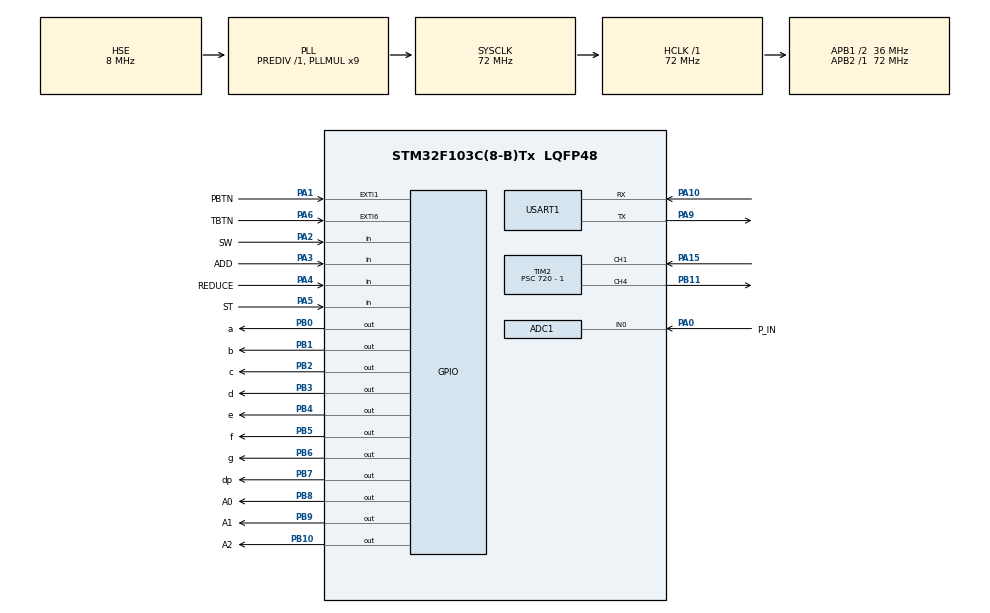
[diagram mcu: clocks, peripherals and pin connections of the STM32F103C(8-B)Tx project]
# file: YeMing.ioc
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ADC1.Channel-0\#ChannelRegularConversion=ADC_CHANNEL_0
ADC1.ContinuousConvMode=ENABLE
ADC1.NbrOfConversion=1
ADC1.NbrOfConversionFlag=1
ADC1.Rank-0\#ChannelRegularConversion=1
ADC1.SamplingTime-0\#ChannelRegularConversion=ADC_SAMPLETIME_28CYCLES_5
ADC1.master=1
Dma.ADC1.2.Direction=DMA_PERIPH_TO_MEMORY
Dma.ADC1.2.Instance=DMA1_Channel1
Dma.ADC1.2.MemDataAlignment=DMA_MDATAALIGN_HALFWORD
Dma.ADC1.2.MemInc=DMA_MINC_ENABLE
Dma.ADC1.2.Mode=DMA_CIRCULAR
Dma.ADC1.2.PeriphDataAlignment=DMA_PDATAALIGN_HALFWORD
Dma.ADC1.2.PeriphInc=DMA_PINC_DISABLE
Dma.ADC1.2.Priority=DMA_PRIORITY_LOW
Dma.Request0=USART1_TX
Dma.Request1=USART1_RX
Dma.Request2=ADC1
Dma.USART1_RX.1.Direction=DMA_PERIPH_TO_MEMORY
Dma.USART1_RX.1.Instance=DMA1_Channel5
Dma.USART1_RX.1.MemDataAlignment=DMA_MDATAALIGN_BYTE
Dma.USART1_RX.1.MemInc=DMA_MINC_ENABLE
Dma.USART1_RX.1.Mode=DMA_NORMAL
Dma.USART1_RX.1.PeriphDataAlignment=DMA_PDATAALIGN_BYTE
Dma.USART1_RX.1.PeriphInc=DMA_PINC_DISABLE
Dma.USART1_RX.1.Priority=DMA_PRIORITY_LOW
Dma.USART1_TX.0.Direction=DMA_MEMORY_TO_PERIPH
Dma.USART1_TX.0.Instance=DMA1_Channel4
Dma.USART1_TX.0.MemDataAlignment=DMA_MDATAALIGN_BYTE
Dma.USART1_TX.0.MemInc=DMA_MINC_ENABLE
Dma.USART1_TX.0.Mode=DMA_NORMAL
Dma.USART1_TX.0.PeriphDataAlignment=DMA_PDATAALIGN_BYTE
Dma.USART1_TX.0.PeriphInc=DMA_PINC_DISABLE
Dma.USART1_TX.0.Priority=DMA_PRIORITY_LOW
Mcu.Family=STM32F1
Mcu.Name=STM32F103C(8-B)Tx
Mcu.Package=LQFP48
NVIC.DMA1_Channel1_IRQn=true\:0\:0\:false\:false\:true\:false\:true\:true
NVIC.DMA1_Channel4_IRQn=true\:0\:0\:false\:false\:true\:false\:true\:true
NVIC.DMA1_Channel5_IRQn=true\:0\:0\:false\:false\:true\:false\:true\:true
NVIC.EXTI1_IRQn=true\:1\:0\:true\:false\:true\:true\:true\:true
NVIC.EXTI9_5_IRQn=true\:2\:0\:true\:false\:true\:true\:true\:true
NVIC.PriorityGroup=NVIC_PRIORITYGROUP_4
NVIC.TIM2_IRQn=true\:0\:0\:false\:false\:true\:true\:true\:true
NVIC.TIM3_IRQn=true\:0\:0\:false\:false\:true\:true\:true\:true
NVIC.TIM4_IRQn=true\:4\:0\:true\:false\:true\:true\:true\:true
NVIC.USART1_IRQn=true\:0\:0\:false\:false\:true\:false\:true\:true
PA0-WKUP.GPIO_Label=P_IN
PA0-WKUP.Signal=ADCx_IN0
PA1.GPIO_Label=PBTN
PA1.GPIO_ModeDefaultEXTI=GPIO_MODE_IT_RISING_FALLING
PA1.Signal=GPXTI1
PA10.Mode=Asynchronous
PA10.Signal=USART1_RX
PA13.Mode=Serial_Wire
PA13.Signal=SYS_JTMS-SWDIO
PA14.Mode=Serial_Wire
PA14.Signal=SYS_JTCK-SWCLK
PA15.Signal=S_TIM2_CH1_ETR
PA2.GPIO_Label=SW
PA2.Signal=GPIO_Input
PA3.GPIO_Label=ADD
PA3.Signal=GPIO_Input
PA4.GPIO_Label=REDUCE
PA4.Signal=GPIO_Input
PA5.GPIO_Label=ST
PA5.Signal=GPIO_Input
PA6.GPIO_Label=TBTN
PA6.GPIO_ModeDefaultEXTI=GPIO_MODE_IT_RISING_FALLING
PA6.Signal=GPXTI6
PA9.Mode=Asynchronous
PA9.Signal=USART1_TX
PB0.GPIO_Label=a
PB0.Signal=GPIO_Output
PB1.GPIO_Label=b
PB1.Signal=GPIO_Output
PB10.GPIO_Label=A2
PB10.Signal=GPIO_Output
PB11.Signal=S_TIM2_CH4
PB2.GPIO_Label=c
PB2.Signal=GPIO_Output
PB3.GPIO_Label=d
PB3.Signal=GPIO_Output
PB4.GPIO_Label=e
PB4.Signal=GPIO_Output
PB5.GPIO_Label=f
PB5.Signal=GPIO_Output
PB6.GPIO_Label=g
PB6.Signal=GPIO_Output
PB7.GPIO_Label=dp
PB7.Signal=GPIO_Output
PB8.GPIO_Label=A0
PB8.Signal=GPIO_Output
PB9.GPIO_Label=A1
PB9.Signal=GPIO_Output
PD0-OSC_IN.Mode=HSE-External-Oscillator
PD0-OSC_IN.Signal=RCC_OSC_IN
PD1-OSC_OUT.Mode=HSE-External-Oscillator
PD1-OSC_OUT.Signal=RCC_OSC_OUT
ProjectManager.HeapSize=0x200
ProjectManager.StackSize=0x400
ProjectManager.TargetToolchain=MDK-ARM V5
RCC.ADCPresc=RCC_ADCPCLK2_DIV6
RCC.AHBFreq_Value=72000000
RCC.APB1CLKDivider=RCC_HCLK_DIV2
RCC.APB1Freq_Value=36000000
RCC.APB1TimFreq_Value=72000000
RCC.APB2Freq_Value=72000000
RCC.APB2TimFreq_Value=72000000
RCC.HCLKFreq_Value=72000000
RCC.PLLMUL=RCC_PLL_MUL9
RCC.PLLSourceVirtual=RCC_PLLSOURCE_HSE
RCC.SYSCLKFreq_VALUE=72000000
RCC.SYSCLKSource=RCC_SYSCLKSOURCE_PLLCLK
RCC.USBFreq_Value=72000000
SH.ADCx_IN0.0=ADC1_IN0,IN0
SH.S_TIM2_CH1_ETR.0=TIM2_CH1,TriggerSource_TI1FP1
SH.S_TIM2_CH4.0=TIM2_CH4,Output Compare4 CH4
TIM2.Channel-Output\ Compare4\ CH4=TIM_CHANNEL_4
TIM2.Period=1000 - 1
TIM2.Prescaler=720 - 1
TIM2.Pulse-Output\ Compare4\ CH4=500
TIM3.Period=3580 - 1
TIM3.Prescaler=2000 - 1
TIM4.Period=3600 - 1
TIM4.Prescaler=200 - 1
USART1.VirtualMode=VM_ASYNC
VP_TIM2_VS_ControllerModeTrigger.Mode=Trigger Mode
VP_TIM2_VS_OPM.Mode=OPM_bit
VP_TIM3_VS_ClockSourceINT.Mode=Internal
VP_TIM4_VS_ClockSourceINT.Mode=Internal
board=custom

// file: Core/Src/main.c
/* USER CODE BEGIN Header */
/**
  ******************************************************************************
  * @file           : main.c
  * @brief          : Main program body
  ******************************************************************************
  * @attention
  *
  * ------------------------------------------------------------------
  *
  *                        ____  _   _ _   _
  *                       |  _ \| | | | \ | |
  *                       | |_) | | | |  \| |
  *                       |  _ <| |_| | |\  |
  *                       |_| \_\\___/|_| \_|
  *
  *
  *                                                      CharlesYu
  * ------------------------------------------------------------------
  *
  * Copyright (c) 2024 STMicroelectronics.
  * All rights reserved.
  *
  * This software is licensed under terms that can be found in the LICENSE file
  * in the root directory of this software component.
  * If no LICENSE file comes with this software, it is provided AS-IS.
  *
  ******************************************************************************
  */
/* USER CODE END Header */
#include "main.h"
#include "adc.h"
#include "dma.h"
#include "tim.h"
#include "usart.h"
#include "gpio.h"

/* USER CODE BEGIN PV */

enum_GeneralStatus global_power_status = GS_OFF;
enum_GeneralStatus global_timer_status = GS_OFF;
enum_GeneralStatus global_count_status = GS_OFF;
enum_DisplayStatusTypeDef global_display_status = DISPLAY_OFF;                          // global display clock status: Off/Hour/Minute/All
enum_KeyEventTypeDef global_key_event = KEY_EVENT_NULL;                                 // global key event: Null/Click/Hold

int key_count = 0;                          // Time count of button press
int global_timeout_count = 0;               // Count and flash hour or minute display.
int i;                                      // Loop variable

/* ---------- Time count variables */
uint8_t minute_count = 0;                   // These three variable are about the time count.
uint8_t hour_count = 0;                     // The total time count is
uint8_t second_count = 0;                   // (minute_count*60 + hour_count*3600 + second_count), in seconds .

/* ---------- ADC collection and power output percentage variables */
uint16_t adc_raw_value[10] = {0};           // ADC raw value array
uint16_t adc_value = 0;                     // ADC value in average calculation
int power_percentage = 0;                   // The percentage of power output
int pulse_delay_counter = 1000;
// const float C = 48360.5;
// const float k1 = 4836050;
// const float k2 = 7696.8;
// const float k3 = 10.97;

/* ---------- Table of delay time corresponding to percentage */
const uint16_t delay_time_table[101] = {
  0, 500, 500, 500, 500, 500, 500, 500, 500, 500,
500, 500, 500, 500, 500, 500, 500, 500, 500, 500,
500, 500, 500, 500, 500, 500, 500, 500, 500, 500,
500, 500, 500, 500, 500, 500, 500, 500, 500, 500,
500, 500, 500, 500, 500, 500, 500, 500, 500, 500,
500, 500, 500, 500, 500, 500, 500, 500, 500, 500,
500, 500, 500, 500, 500, 500, 500, 500, 500, 500,
500, 500, 500, 500, 500, 500, 500, 500, 500, 500,
500, 500, 500, 500, 500, 500, 500, 500, 500, 500,
500, 500, 500, 500, 500, 500, 500, 500, 500, 500,
999
};

/* USER CODE END PV */

void SystemClock_Config(void);

int main(void)
{

  /* MCU Configuration--------------------------------------------------------*/

  /* Reset of all peripherals, Initializes the Flash interface and the Systick. */
  HAL_Init();

  /* Configure the system clock */
  SystemClock_Config();

  /* Initialize all configured peripherals */
  MX_GPIO_Init();
  MX_DMA_Init();
  MX_USART1_UART_Init();
  MX_ADC1_Init();
  MX_TIM4_Init();
  MX_TIM3_Init();
  MX_TIM2_Init();

  /* Infinite loop */
  while (1)
  {

    /* USER CODE BEGIN 3 */

    /* ---------- Timer control key scan code */
    if (GS_ON == global_timer_status)   // If TBTN is closed, enter the key scan code.
    {
      if (GS_OFF == global_count_status)
      {
        if (GPIO_PIN_RESET == HAL_GPIO_ReadPin(SW_GPIO_Port,SW_Pin))    // If the SW is pressed.
        {
          HAL_Delay(10);
          if (GPIO_PIN_RESET == HAL_GPIO_ReadPin(SW_GPIO_Port,SW_Pin))
          {
            // Determine the event type: click or hold
            while(1)
            {
              if (GPIO_PIN_SET == HAL_GPIO_ReadPin(SW_GPIO_Port,SW_Pin))
              {
                HAL_Delay(10);
                if(GPIO_PIN_SET == HAL_GPIO_ReadPin(SW_GPIO_Port,SW_Pin))
                {
                  global_key_event = KEY_EVENT_CLICK;
                  break;
                }
              }

              key_count ++;
              HAL_Delay(1);

              if(MAXIMUM_KEY_COUNT == key_count)
              {
                global_key_event = KEY_EVENT_HOLD;
                break;
              }
            }
            // Click Mode Operation: Switch the display(hour/minute).
            if (KEY_EVENT_CLICK == global_key_event)
            {
              if (DISPLAY_OFF == global_display_status || DISPLAY_HOUR == global_display_status)
              {
                global_display_status = DISPLAY_MINUTE;
                global_timeout_count = 0;
              }
              else if (DISPLAY_MINUTE == global_display_status)
              {
                global_display_status = DISPLAY_HOUR;
                global_timeout_count = 0;
              }
            }
            // Hold Mode Operation: Clear the display and count.
            else if (KEY_EVENT_HOLD == global_key_event)
            {
              // set no flashing.
              global_display_status = DISPLAY_ON;
              // Set timer display 00:00 .
              cathode_number[0] = display_number[0];
              cathode_number[1] = display_number[0];
              cathode_number[2] = display_number[0];
              cathode_number[3] = display_number[0];
              // Set count to 0 .
              minute_count = 0;
              hour_count = 0;

              while (1)
              {
                if (GPIO_PIN_SET == HAL_GPIO_ReadPin(SW_GPIO_Port,SW_Pin))
                {
                  HAL_Delay(10);
                  if(GPIO_PIN_SET == HAL_GPIO_ReadPin(SW_GPIO_Port,SW_Pin))
                  {
                    break;
                  }
                }
              }
            }
            // Clear all key flags.
            key_count = 0;
            global_key_event = KEY_EVENT_NULL;
          }
        }
        // If the display is flashing, then we can operate the add and reduce key.
        if (global_display_status == DISPLAY_HOUR || global_display_status == DISPLAY_MINUTE)
        {
          if (GPIO_PIN_RESET == HAL_GPIO_ReadPin(ADD_GPIO_Port,ADD_Pin))    // If the ADD is pressed.
          {
            HAL_Delay(10);
            if (GPIO_PIN_RESET == HAL_GPIO_ReadPin(ADD_GPIO_Port,ADD_Pin))
            {
              // Determine the event type: click or hold
              while (1)
              {
                if (GPIO_PIN_SET == HAL_GPIO_ReadPin(ADD_GPIO_Port,ADD_Pin))
                {
                  HAL_Delay(10);
                  if (GPIO_PIN_SET == HAL_GPIO_ReadPin(ADD_GPIO_Port,ADD_Pin))
                  {
                    global_key_event = KEY_EVENT_CLICK;
                    break;
                  }
                }

                key_count++;
                HAL_Delay(1);

                if (MAXIMUM_KEY_COUNT == key_count)
                {
                  global_key_event = KEY_EVENT_HOLD;
                  break;
                }
              }
              // Click Mode Operation: Increase count and display.
              if (KEY_EVENT_CLICK == global_key_event)
              {
                if (DISPLAY_MINUTE == global_display_status)
                {
                  if (59 == minute_count)
                  {
                    minute_count = 0;
                  }
                  else
                  {
                    minute_count ++;
                  }
                  cathode_number[0] = display_number[(uint8_t)((int)minute_count % (int)10)];
                  cathode_number[1] = display_number[(uint8_t)((int)minute_count / (int)10)];
                }
                else if (DISPLAY_HOUR == global_display_status)
                {
                  if (24 == hour_count)
                  {
                    hour_count = 0;
                  }
                  else
                  {
                    hour_count ++;
                  }
                  cathode_number[2] = display_number[(uint8_t)((int)hour_count % (int)10)];
                  cathode_number[3] = display_number[(uint8_t)((int)hour_count / (int)10)];
                }
              }
              // Hold Mode Operation: Keep increasing count and display.
              else if (KEY_EVENT_HOLD == global_key_event)
              {
                key_count = 0;
                while (1)
                {
                  if (GPIO_PIN_SET == HAL_GPIO_ReadPin(ADD_GPIO_Port,ADD_Pin))
                  {
                    HAL_Delay(10);
                    if (GPIO_PIN_SET == HAL_GPIO_ReadPin(ADD_GPIO_Port,ADD_Pin))
                    { //Hold end
                      break;
                    }
                  }
                  HAL_Delay(50);
                  if (10 == key_count)
                  {
                    if (DISPLAY_MINUTE == global_display_status)
                    {
                      if (59 == minute_count)
                      {
                        minute_count = 0;
                      }
                      else
                      {
                        minute_count ++;
                      }
                      cathode_number[0] = display_number[(uint8_t)((int)minute_count % (int)10)];
                      cathode_number[1] = display_number[(uint8_t)((int)minute_count / (int)10)];
                    }
                    else if (DISPLAY_HOUR == global_display_status)
                    {
                      if (24 == hour_count)
                      {
                        hour_count = 0;
                      }
                      else
                      {
                        hour_count ++;
                      }
                      cathode_number[2] = display_number[(uint8_t)((int)hour_count % (int)10)];
                      cathode_number[3] = display_number[(uint8_t)((int)hour_count / (int)10)];
                    }
                    key_count = 0;
                  }
                  key_count ++;
                }
              }
              // Clear key flags.
              key_count = 0;
              global_key_event = KEY_EVENT_NULL;
            }
          }
          if (GPIO_PIN_RESET == HAL_GPIO_ReadPin(REDUCE_GPIO_Port,REDUCE_Pin))    // If the REDUCE is pressed.
          {
            HAL_Delay(10);
            if (GPIO_PIN_SET == HAL_GPIO_ReadPin(REDUCE_GPIO_Port,REDUCE_Pin))
            {
              // Determine the event type: click or hold
              while (1)
              {
                if (GPIO_PIN_SET == HAL_GPIO_ReadPin(REDUCE_GPIO_Port,REDUCE_Pin))
                {
                  HAL_Delay(10);
                  if (GPIO_PIN_SET == HAL_GPIO_ReadPin(REDUCE_GPIO_Port,REDUCE_Pin))
                  {
                    global_key_event = KEY_EVENT_CLICK;
                    break;
                  }
                }

                key_count++;
                HAL_Delay(1);

                if (MAXIMUM_KEY_COUNT == key_count)
                {
                  global_key_event = KEY_EVENT_HOLD;
                  break;
                }
              }
              // Click Mode Operation: Decrease count and display.
              if (KEY_EVENT_CLICK == global_key_event)
              {
                if (DISPLAY_MINUTE == global_display_status)
                {
                  if (0 == minute_count)
                  {
                    minute_count = 59;
                  }
                  else
                  {
                    minute_count --;
                  }
                  cathode_number[0] = display_number[(uint8_t)((int)minute_count % (int)10)];
                  cathode_number[1] = display_number[(uint8_t)((int)minute_count / (int)10)];
                }
                else if (DISPLAY_HOUR == global_display_status)
                {
                  if (0 == hour_count)
                  {
                    hour_count = 24;
                  }
                  else
                  {
                    hour_count --;
                  }
                  cathode_number[2] = display_number[(uint8_t)((int)hour_count % (int)10)];
                  cathode_number[3] = display_number[(uint8_t)((int)hour_count / (int)10)];
                }
              }
              // Hold Mode Operation: Keep decreasing count and display.
              else if (KEY_EVENT_HOLD == global_key_event)
              {
                key_count = 0;
                while (1)
                {
                  if (GPIO_PIN_SET == HAL_GPIO_ReadPin(REDUCE_GPIO_Port,REDUCE_Pin))
                  {
                    HAL_Delay(10);
                    if (GPIO_PIN_SET == HAL_GPIO_ReadPin(REDUCE_GPIO_Port,REDUCE_Pin))
                    {
                      // Hold end
                      break;
                    }
                  }
                  HAL_Delay(50);
                  if (10 == key_count)
                  {
                    if (DISPLAY_MINUTE == global_display_status)
                    {
                      if (0 == minute_count)
                      {
                        minute_count = 59;
                      }
                      else
                      {
                        minute_count --;
                      }
                      cathode_number[0] = display_number[(uint8_t)((int)minute_count % (int)10)];
                      cathode_number[1] = display_number[(uint8_t)((int)minute_count / (int)10)];
                    }
                    else if (DISPLAY_HOUR == global_display_status)
                    {
                      if (0 == hour_count)
                      {
                        hour_count = 24;
                      }
                      else
                      {
                        hour_count --;
                      }
                      cathode_number[2] = display_number[(uint8_t)((int)hour_count % (int)10)];
                      cathode_number[3] = display_number[(uint8_t)((int)hour_count / (int)10)];
                    }
                  }
                  key_count ++;
                }
              }
              // Clear key flags.
              key_count = 0;
              global_key_event = KEY_EVENT_NULL;
            }
          }
        }
      }
      if (GPIO_PIN_RESET == HAL_GPIO_ReadPin(ST_GPIO_Port,ST_Pin))    // If the ST is pressed.
      {
        HAL_Delay(10);
        if (GPIO_PIN_RESET == HAL_GPIO_ReadPin(ST_GPIO_Port,ST_Pin))
        { // ST only has the click mode.
          while (1)
          {
            if (GPIO_PIN_SET == HAL_GPIO_ReadPin(ST_GPIO_Port,ST_Pin))
            {
              HAL_Delay(10);
              if (GPIO_PIN_SET == HAL_GPIO_ReadPin(ST_GPIO_Port,ST_Pin))
              {
                break;
              }
            }
          }

          if (GS_OFF == global_count_status)
          {
            // Firstly, check whether the count is equal to 0.
            if (0 == minute_count && 0 == hour_count)
            {
              // XXXXX Make the "Count zero" noise. XXXXX
              // And do nothing.

            }
            else
            {
              global_count_status = GS_ON;
              HAL_TIM_Base_Start_IT(&htim3);  // Run the timer.
            }
          }
          else if (GS_ON == global_count_status)
          {
            global_count_status = GS_OFF;
            HAL_TIM_Base_Stop_IT(&htim3);   // Stop the timer.
          }
        }
      }
    }

    void CY_collect_ADC_and_convert(void);

    /* ---------- Power control key scan code */
    if (GS_ON == global_power_status)
    {
      /*XXXXX Calculate the power counter time according voltage percentage and reconfigure tim1 ARR. XXXXX*/
      pulse_delay_counter = delay_time_table[power_percentage] ;
      __HAL_TIM_SET_COMPARE(&htim2, TIM_CHANNEL_4, pulse_delay_counter);

    }

  }
  /* USER CODE END 3 */
}

void SystemClock_Config(void)
{
  RCC_OscInitTypeDef RCC_OscInitStruct = {0};
  RCC_ClkInitTypeDef RCC_ClkInitStruct = {0};
  RCC_PeriphCLKInitTypeDef PeriphClkInit = {0};

  /** Initializes the RCC Oscillators according to the specified parameters
  * in the RCC_OscInitTypeDef structure.
  */
  RCC_OscInitStruct.OscillatorType = RCC_OSCILLATORTYPE_HSE;
  RCC_OscInitStruct.HSEState = RCC_HSE_ON;
  RCC_OscInitStruct.HSEPredivValue = RCC_HSE_PREDIV_DIV1;
  RCC_OscInitStruct.HSIState = RCC_HSI_ON;
  RCC_OscInitStruct.PLL.PLLState = RCC_PLL_ON;
  RCC_OscInitStruct.PLL.PLLSource = RCC_PLLSOURCE_HSE;
  RCC_OscInitStruct.PLL.PLLMUL = RCC_PLL_MUL9;
  if (HAL_RCC_OscConfig(&RCC_OscInitStruct) != HAL_OK)
  {
    Error_Handler();
  }

  /** Initializes the CPU, AHB and APB buses clocks
  */
  RCC_ClkInitStruct.ClockType = RCC_CLOCKTYPE_HCLK|RCC_CLOCKTYPE_SYSCLK
                              |RCC_CLOCKTYPE_PCLK1|RCC_CLOCKTYPE_PCLK2;
  RCC_ClkInitStruct.SYSCLKSource = RCC_SYSCLKSOURCE_PLLCLK;
  RCC_ClkInitStruct.AHBCLKDivider = RCC_SYSCLK_DIV1;
  RCC_ClkInitStruct.APB1CLKDivider = RCC_HCLK_DIV2;
  RCC_ClkInitStruct.APB2CLKDivider = RCC_HCLK_DIV1;

  if (HAL_RCC_ClockConfig(&RCC_ClkInitStruct, FLASH_LATENCY_2) != HAL_OK)
  {
    Error_Handler();
  }
  PeriphClkInit.PeriphClockSelection = RCC_PERIPHCLK_ADC;
  PeriphClkInit.AdcClockSelection = RCC_ADCPCLK2_DIV6;
  if (HAL_RCCEx_PeriphCLKConfig(&PeriphClkInit) != HAL_OK)
  {
    Error_Handler();
  }
}

/* USER CODE BEGIN 4 */

/**
* @name       fputc
* @brief      Printf redirection.
* @param      ch
* @param      f
* @return     ch
*
*/
int fputc(int ch,FILE *f)
{
  while ((USART2 -> SR & 0x40) == 0);
  USART2 -> DR = (uint8_t)ch;
  return ch;
}

/**
* @name       Determining_Power_Output_Status
* @brief      To determine the status of power output
*             and the corresponding actions.
* @param      NONE
* @return     NONE

*
*/
void Determining_Power_Output_Status(void)
{
  if (GS_ON == global_power_status)
  { // Output the current power to the load.

  }
  else
  { // Cut off the current power output.

  }
}
/**
* @name       STM32_Init
* @brief      Initialization of STM32 Hardware.
* @param      NONE
* @return     NONE
*
*/
void STM32_Init(void)
{
  // Start the USART1 DMA tranmit.
  HAL_UART_Transmit_DMA(&huart1,rx1_buffer,RX1BUFFERSIZE);

  // Start the timer4 to display LED.
  HAL_TIM_Base_Start_IT(&htim4);

  // Take a calibration for the ADC collection, then start to convert the voltage to digital quantity.
  HAL_ADCEx_Calibration_Start(&hadc1);
  HAL_ADC_Start_DMA(&hadc1, (uint32_t *)&adc_raw_value, 10);

}
/**
* @name       LED_Display_Init
* @brief      Initialization of time display.
* @param      NONE
* @return     NONE
*
*/
void LED_Display_Init(void)
{
  memset(cathode_number,0x3F,sizeof(cathode_number));
  hour_count = 0;
  minute_count = 0;
  second_count = 0;
}

/**
* @name       CY_Average_u16
* @brief      Get the average of an array.
* @param      uint16_t array[], target array.
* @param      int amount, the amount of the target array.
* @return     uint16_t Average value
*
*/
uint16_t CY_Average_u16(uint16_t array[], int amount)
{
  uint16_t avg = 0;
  for (int avg_i = 0; avg_i < amount; avg_i++)
  {
    avg = avg + array[avg_i];
  }
  avg = avg / amount;
  return avg;
}

/**
* @name       CY_collect_ADC_and_convert
* @brief      Collect the ADC value and convert to percentage.
* @param      NONE
* @return     NONE
*
*/
void CY_collect_ADC_and_convert(void)
{
  /* ---------- Get the adc value and convert to percentage. */
  adc_value = CY_Average_u16(adc_raw_value, sizeof(adc_raw_value));
  power_percentage = (adc_value / 4096) * 100;
  if (power_percentage > 100)
  {
    power_percentage = 100;
  }
  else if (power_percentage < 0)
  {
    power_percentage = 0;
  }

  /* ---------- Display percentage */
  cathode_number[5] = display_number[(power_percentage / 100)];
  cathode_number[6] = display_number[((power_percentage / 10) % 10)];
  cathode_number[7] = display_number[(power_percentage / 10)];

  return;
}

/* USER CODE END 4 */

void Error_Handler(void)
{
  __disable_irq();
  while (1)
  {
  }
}
